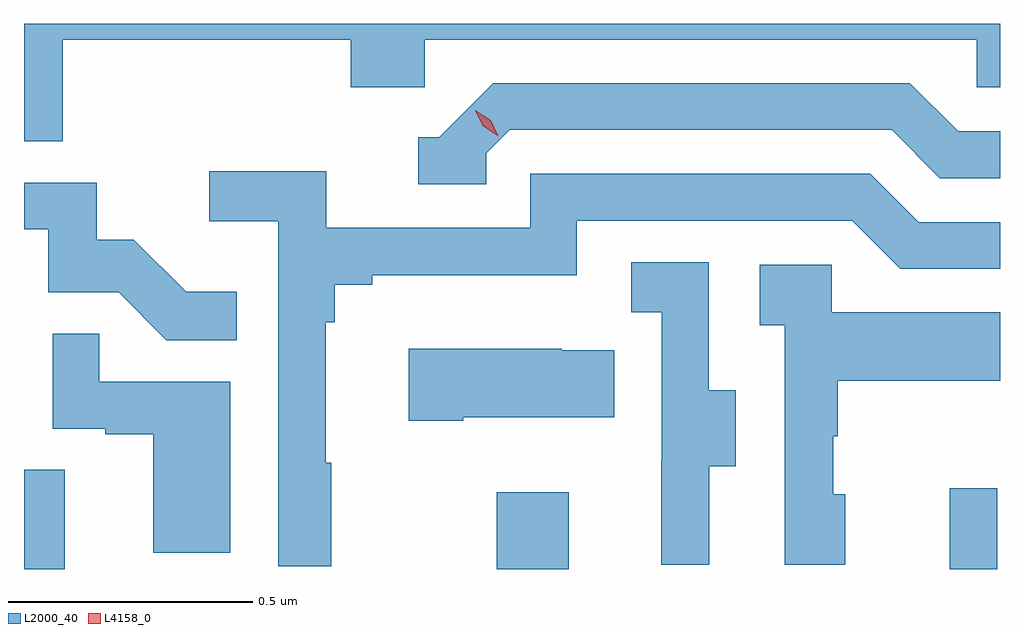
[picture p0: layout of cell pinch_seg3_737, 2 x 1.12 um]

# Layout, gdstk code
import gdstk
lib = gdstk.Library(unit=1e-6, precision=1e-09)
def R(c, l, rs):  # rectangles x0, y0, x1, y1
    for r in rs: c.add(gdstk.rectangle(r[:2], r[2:], *l))
def P(c, l, *ps):  # polygons
    for p in ps: c.add(gdstk.Polygon(p, *l))
L2000_40 = (2000, 40)
L4158_0 = (4158, 0)

pinch_seg3_737 = lib.new_cell('pinch_seg3_737')
R(pinch_seg3_737, L2000_40, [(885.469,747.783,885.553,747.986), (886.438,747.783,886.585,747.94), (887.366,747.783,887.463,747.949)])
P(pinch_seg3_737, L2000_40, [(885.548,748.868),(886.139,748.868),(886.139,748.77),(886.29,748.77),(886.29,748.868),(887.421,748.868),(887.421,748.77),(887.469,748.77),(887.469,748.9),(885.469,748.9),(885.469,748.66),(885.548,748.66)],
  [(886.416,748.635),(886.464,748.683),(887.247,748.683),(887.346,748.584),(887.469,748.584),(887.469,748.68),(887.383,748.68),(887.284,748.779),(886.431,748.779),(886.32,748.668),(886.277,748.668),(886.277,748.572),(886.416,748.572)],
  [(886.099,748.001),(886.087,748.001),(886.087,748.289),(886.106,748.289),(886.106,748.366),(886.183,748.366),(886.183,748.385),(886.602,748.385),(886.602,748.497),(887.166,748.497),(887.265,748.398),(887.469,748.398),(887.469,748.494),(887.302,748.494),(887.203,748.593),(886.506,748.593),(886.506,748.482),(886.088,748.482),(886.088,748.598),(885.849,748.598),(885.849,748.496),(885.99,748.496),(885.99,747.789),(886.099,747.789)],
  [(885.905,748.351),(885.801,748.351),(885.694,748.458),(885.618,748.458),(885.618,748.575),(885.469,748.575),(885.469,748.479),(885.519,748.479),(885.519,748.35),(885.663,748.35),(885.761,748.252),(885.905,748.252)],
  [(886.873,747.994),(886.927,747.994),(886.927,748.149),(886.872,748.149),(886.872,748.412),(886.713,748.412),(886.713,748.309),(886.776,748.309),(886.776,748.005),(886.775,748.005),(886.775,747.792),(886.873,747.792)],
  [(887.152,747.936),(887.127,747.936),(887.127,748.055),(887.137,748.055),(887.137,748.169),(887.469,748.169),(887.469,748.309),(887.124,748.309),(887.124,748.407),(886.977,748.407),(886.977,748.283),(887.028,748.283),(887.028,747.792),(887.152,747.792)],
  [(885.892,748.167),(885.623,748.167),(885.623,748.265),(885.528,748.265),(885.528,748.071),(885.635,748.071),(885.635,748.059),(885.734,748.059),(885.734,747.816),(885.892,747.816)],
  [(886.369,748.094),(886.679,748.094),(886.679,748.231),(886.571,748.231),(886.571,748.234),(886.257,748.234),(886.257,748.087),(886.369,748.087)])
P(pinch_seg3_737, L4158_0, [(886.441,748.67),(886.41,748.69),(886.394,748.722),(886.394,748.723),(886.394,748.723),(886.425,748.703),(886.441,748.67),(886.441,748.67)])

lib.write_gds('pinch_seg3_737.gds')
